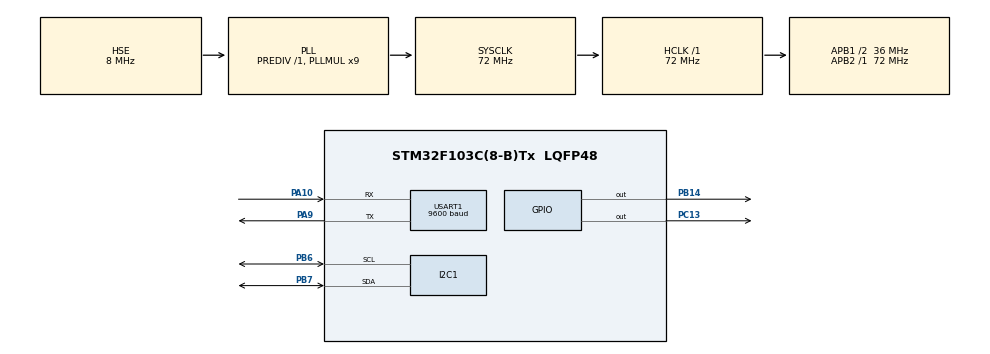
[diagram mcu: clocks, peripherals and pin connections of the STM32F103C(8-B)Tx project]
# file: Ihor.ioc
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I2C1.I2C_Mode=I2C_Fast
Mcu.Family=STM32F1
Mcu.Name=STM32F103C(8-B)Tx
Mcu.Package=LQFP48
NVIC.PriorityGroup=NVIC_PRIORITYGROUP_4
NVIC.TIM2_IRQn=true\:0\:0\:false\:false\:true\:true\:true
NVIC.USART1_IRQn=true\:0\:0\:false\:false\:true\:true\:true
PA10.Mode=Asynchronous
PA10.Signal=USART1_RX
PA13.Mode=Serial_Wire
PA13.Signal=SYS_JTMS-SWDIO
PA14.Mode=Serial_Wire
PA14.Signal=SYS_JTCK-SWCLK
PA9.Mode=Asynchronous
PA9.Signal=USART1_TX
PB14.PinState=GPIO_PIN_SET
PB14.Signal=GPIO_Output
PB6.Mode=I2C
PB6.Signal=I2C1_SCL
PB7.Mode=I2C
PB7.Signal=I2C1_SDA
PC13-TAMPER-RTC.PinState=GPIO_PIN_SET
PC13-TAMPER-RTC.Signal=GPIO_Output
PD0-OSC_IN.Mode=HSE-External-Oscillator
PD0-OSC_IN.Signal=RCC_OSC_IN
PD1-OSC_OUT.Mode=HSE-External-Oscillator
PD1-OSC_OUT.Signal=RCC_OSC_OUT
ProjectManager.HeapSize=0x200
ProjectManager.StackSize=0x400
ProjectManager.TargetToolchain=STM32CubeIDE
RCC.AHBFreq_Value=72000000
RCC.APB1CLKDivider=RCC_HCLK_DIV2
RCC.APB1Freq_Value=36000000
RCC.APB1TimFreq_Value=72000000
RCC.APB2Freq_Value=72000000
RCC.APB2TimFreq_Value=72000000
RCC.HCLKFreq_Value=72000000
RCC.PLLMUL=RCC_PLL_MUL9
RCC.PLLSourceVirtual=RCC_PLLSOURCE_HSE
RCC.SYSCLKFreq_VALUE=72000000
RCC.SYSCLKSource=RCC_SYSCLKSOURCE_PLLCLK
RCC.USBFreq_Value=72000000
TIM2.Period=1999
TIM2.Prescaler=7199
USART1.BaudRate=9600
USART1.VirtualMode=VM_ASYNC
VP_TIM2_VS_ClockSourceINT.Mode=Internal
board=custom

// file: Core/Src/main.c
/* USER CODE BEGIN Header */
/**
 ******************************************************************************
 * @file           : main.c
 * @brief          : Main program body
 ******************************************************************************
 * @attention
 *
 * <h2><center>&copy; Copyright (c) 2020 STMicroelectronics.
 * All rights reserved.</center></h2>
 *
 * This software component is licensed by ST under BSD 3-Clause license,
 * the "License"; You may not use this file except in compliance with the
 * License. You may obtain a copy of the License at:
 *                        opensource.org/licenses/BSD-3-Clause
 *
 ******************************************************************************
 */
/* USER CODE END Header */

#include "main.h"

/* USER CODE BEGIN Includes */

#include "stdlib.h"
#include "string.h"
#include "bmp180.h"
#include "tca9548a.h"
#include "lcd1602.h"
#include "ssd1306.h"
/* USER CODE END Includes */

I2C_HandleTypeDef hi2c1;

TIM_HandleTypeDef htim2;

UART_HandleTypeDef huart1;

/* USER CODE BEGIN PV */
Bmp180 bmp[6];
uint8_t requestCode[] = { 0 };
/* USER CODE END PV */

void SystemClock_Config(void);
static void MX_GPIO_Init(void);
static void MX_USART1_UART_Init(void);
static void MX_I2C1_Init(void);
static void MX_TIM2_Init(void);

/* USER CODE BEGIN 0 */

void I2C_Scan() {
	char msg[64] = "Scanning I2C bus...\r\n";
	HAL_UART_Transmit(&huart1, (uint8_t*) msg, strlen(msg),
	HAL_MAX_DELAY);
	HAL_StatusTypeDef res;
	for (uint16_t i = 0; i < 128; i++) {
		res = HAL_I2C_IsDeviceReady(&hi2c1, i << 1, 1, 10);
		if (res == HAL_OK) {
			char info[16] = "\t0x";
			itoa(i, msg, 16);
			strcat(info, msg);
			strcat(info, "\r\n");
			HAL_UART_Transmit(&huart1, (uint8_t*) info, strlen(info),
			HAL_MAX_DELAY);
		}
	}
	msg[0] = 0;
	strcat(msg, "Scanning close\r\n");
	HAL_UART_Transmit(&huart1, (uint8_t*) msg, strlen(msg), HAL_MAX_DELAY);
}

/* USER CODE END 0 */

int main(void) {

	/* MCU Configuration--------------------------------------------------------*/

	/* Reset of all peripherals, Initializes the Flash interface and the Systick. */
	HAL_Init();

	/* Configure the system clock */
	SystemClock_Config();

	/* Initialize all configured peripherals */
	MX_GPIO_Init();
	MX_USART1_UART_Init();
	MX_I2C1_Init();
	MX_TIM2_Init();
	/* USER CODE BEGIN 2 */

	HAL_Delay(50);

	ssd1306_Init(hi2c1, 0x78);
	for (uint8_t i = 0; i < 6; ++i) {
		TCA_Set(&hi2c1, (TcaAddress) i);
		BMP_180_Init(&bmp[i], &hi2c1);
	}

	HAL_GPIO_WritePin(GPIOC, 13, SET);
	HAL_UART_Receive_IT(&huart1, (uint8_t*) requestCode, 1);
	HAL_TIM_Base_Start_IT(&htim2);
	/* USER CODE END 2 */

	/* Infinite loop */
	while (1) {

	}
}

void SystemClock_Config(void) {
	RCC_OscInitTypeDef RCC_OscInitStruct = { 0 };
	RCC_ClkInitTypeDef RCC_ClkInitStruct = { 0 };

	/** Initializes the CPU, AHB and APB busses clocks
	 */
	RCC_OscInitStruct.OscillatorType = RCC_OSCILLATORTYPE_HSE;
	RCC_OscInitStruct.HSEState = RCC_HSE_ON;
	RCC_OscInitStruct.HSEPredivValue = RCC_HSE_PREDIV_DIV1;
	RCC_OscInitStruct.HSIState = RCC_HSI_ON;
	RCC_OscInitStruct.PLL.PLLState = RCC_PLL_ON;
	RCC_OscInitStruct.PLL.PLLSource = RCC_PLLSOURCE_HSE;
	RCC_OscInitStruct.PLL.PLLMUL = RCC_PLL_MUL9;
	if (HAL_RCC_OscConfig(&RCC_OscInitStruct) != HAL_OK) {
		Error_Handler();
	}
	/** Initializes the CPU, AHB and APB busses clocks
	 */
	RCC_ClkInitStruct.ClockType = RCC_CLOCKTYPE_HCLK | RCC_CLOCKTYPE_SYSCLK
			| RCC_CLOCKTYPE_PCLK1 | RCC_CLOCKTYPE_PCLK2;
	RCC_ClkInitStruct.SYSCLKSource = RCC_SYSCLKSOURCE_PLLCLK;
	RCC_ClkInitStruct.AHBCLKDivider = RCC_SYSCLK_DIV1;
	RCC_ClkInitStruct.APB1CLKDivider = RCC_HCLK_DIV2;
	RCC_ClkInitStruct.APB2CLKDivider = RCC_HCLK_DIV1;

	if (HAL_RCC_ClockConfig(&RCC_ClkInitStruct, FLASH_LATENCY_2) != HAL_OK) {
		Error_Handler();
	}
}

static void MX_I2C1_Init(void) {

	hi2c1.Instance = I2C1;
	hi2c1.Init.ClockSpeed = 400000;
	hi2c1.Init.DutyCycle = I2C_DUTYCYCLE_2;
	hi2c1.Init.OwnAddress1 = 0;
	hi2c1.Init.AddressingMode = I2C_ADDRESSINGMODE_7BIT;
	hi2c1.Init.DualAddressMode = I2C_DUALADDRESS_DISABLE;
	hi2c1.Init.OwnAddress2 = 0;
	hi2c1.Init.GeneralCallMode = I2C_GENERALCALL_DISABLE;
	hi2c1.Init.NoStretchMode = I2C_NOSTRETCH_DISABLE;
	if (HAL_I2C_Init(&hi2c1) != HAL_OK) {
		Error_Handler();
	}

}

static void MX_TIM2_Init(void) {

	TIM_ClockConfigTypeDef sClockSourceConfig = { 0 };
	TIM_MasterConfigTypeDef sMasterConfig = { 0 };

	htim2.Instance = TIM2;
	htim2.Init.Prescaler = 7199;
	htim2.Init.CounterMode = TIM_COUNTERMODE_UP;
	htim2.Init.Period = 1999;
	htim2.Init.ClockDivision = TIM_CLOCKDIVISION_DIV1;
	htim2.Init.AutoReloadPreload = TIM_AUTORELOAD_PRELOAD_DISABLE;
	if (HAL_TIM_Base_Init(&htim2) != HAL_OK) {
		Error_Handler();
	}
	sClockSourceConfig.ClockSource = TIM_CLOCKSOURCE_INTERNAL;
	if (HAL_TIM_ConfigClockSource(&htim2, &sClockSourceConfig) != HAL_OK) {
		Error_Handler();
	}
	sMasterConfig.MasterOutputTrigger = TIM_TRGO_RESET;
	sMasterConfig.MasterSlaveMode = TIM_MASTERSLAVEMODE_DISABLE;
	if (HAL_TIMEx_MasterConfigSynchronization(&htim2, &sMasterConfig)
			!= HAL_OK) {
		Error_Handler();
	}

}

static void MX_USART1_UART_Init(void) {

	huart1.Instance = USART1;
	huart1.Init.BaudRate = 9600;
	huart1.Init.WordLength = UART_WORDLENGTH_8B;
	huart1.Init.StopBits = UART_STOPBITS_1;
	huart1.Init.Parity = UART_PARITY_NONE;
	huart1.Init.Mode = UART_MODE_TX_RX;
	huart1.Init.HwFlowCtl = UART_HWCONTROL_NONE;
	huart1.Init.OverSampling = UART_OVERSAMPLING_16;
	if (HAL_UART_Init(&huart1) != HAL_OK) {
		Error_Handler();
	}

}

static void MX_GPIO_Init(void) {
	GPIO_InitTypeDef GPIO_InitStruct = { 0 };

	/* GPIO Ports Clock Enable */
	__HAL_RCC_GPIOC_CLK_ENABLE();
	__HAL_RCC_GPIOD_CLK_ENABLE();
	__HAL_RCC_GPIOB_CLK_ENABLE();
	__HAL_RCC_GPIOA_CLK_ENABLE();

	/*Configure GPIO pin Output Level */
	HAL_GPIO_WritePin(GPIOC, GPIO_PIN_13, GPIO_PIN_SET);

	/*Configure GPIO pin Output Level */
	HAL_GPIO_WritePin(GPIOB, GPIO_PIN_14, GPIO_PIN_SET);

	/*Configure GPIO pin : PC13 */
	GPIO_InitStruct.Pin = GPIO_PIN_13;
	GPIO_InitStruct.Mode = GPIO_MODE_OUTPUT_PP;
	GPIO_InitStruct.Pull = GPIO_NOPULL;
	GPIO_InitStruct.Speed = GPIO_SPEED_FREQ_LOW;
	HAL_GPIO_Init(GPIOC, &GPIO_InitStruct);

	/*Configure GPIO pin : PB14 */
	GPIO_InitStruct.Pin = GPIO_PIN_14;
	GPIO_InitStruct.Mode = GPIO_MODE_OUTPUT_PP;
	GPIO_InitStruct.Pull = GPIO_NOPULL;
	GPIO_InitStruct.Speed = GPIO_SPEED_FREQ_LOW;
	HAL_GPIO_Init(GPIOB, &GPIO_InitStruct);

}

void Error_Handler(void) {
}

/************************ (C) COPYRIGHT STMicroelectronics *****END OF FILE****/
